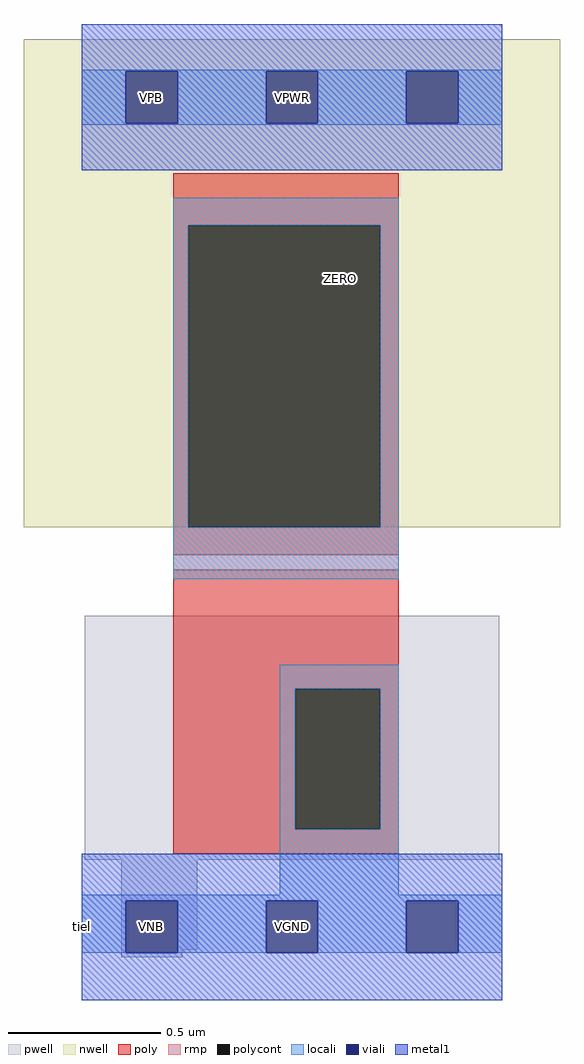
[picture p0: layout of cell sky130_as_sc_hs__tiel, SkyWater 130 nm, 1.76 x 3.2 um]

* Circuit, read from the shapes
.subckt sky130_as_sc_hs__tiel VNB VPB VGND VPWR ZERO
R1 ZERO VGND sky130_fd_pr__res_generic_po w=0.74 l=0.05
.ends

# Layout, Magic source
magic
tech sky130A
magscale 1 2
<< nwell >>
rect -38 262 314 582
<< pwell >>
rect 2 44 274 204
rect 26 -15 76 44
rect 26 -20 66 -15
<< poly >>
rect 60 460 208 494
rect 60 262 70 460
rect 196 262 208 460
rect 60 244 208 262
rect 60 156 208 234
rect 60 64 140 156
rect 196 64 208 156
rect 60 48 208 64
<< polycont >>
rect 70 262 196 460
rect 140 64 196 156
<< rmp >>
rect 60 234 208 244
<< locali >>
rect 0 561 276 562
rect 0 527 29 561
rect 63 527 121 561
rect 155 527 213 561
rect 247 527 276 561
rect 0 526 276 527
rect 60 460 208 478
rect 60 262 70 460
rect 196 262 208 460
rect 60 228 208 262
rect 130 156 208 172
rect 130 64 140 156
rect 196 64 208 156
rect 130 21 208 64
rect 0 17 276 21
rect 0 -17 29 17
rect 63 -17 121 17
rect 155 -17 213 17
rect 247 -17 276 17
<< viali >>
rect 29 527 63 561
rect 121 527 155 561
rect 213 527 247 561
rect 29 -17 63 17
rect 121 -17 155 17
rect 213 -17 247 17
<< metal1 >>
rect 0 561 276 592
rect 0 527 29 561
rect 63 527 121 561
rect 155 527 213 561
rect 247 527 276 561
rect 0 496 276 527
rect 0 17 276 48
rect 0 -17 29 17
rect 63 -17 121 17
rect 155 -17 213 17
rect 247 -17 276 17
rect 0 -48 276 -17
<< labels >>
rlabel comment s 0 0 0 0 4 tiel
flabel pwell s 29 -17 63 17 0 FreeSans 200 0 0 0 VNB
port 1 nsew ground bidirectional
flabel pwell s 46 0 46 0 0 FreeSans 200 0 0 0 VNB
flabel nwell s 29 527 63 561 0 FreeSans 200 0 0 0 VPB
port 2 nsew power bidirectional
flabel nwell s 46 544 46 544 0 FreeSans 200 0 0 0 VPB
flabel metal1 s 29 527 63 561 0 FreeSans 200 0 0 0 VPWR
port 4 nsew power bidirectional abutment
rlabel metal1 s 0 496 276 592 1 VPWR
port 4 nsew power bidirectional abutment
rlabel metal1 s 0 -48 276 48 1 VGND
port 3 nsew ground bidirectional abutment
flabel metal1 s 29 -17 63 17 0 FreeSans 200 0 0 0 VGND
port 3 nsew ground bidirectional abutment
flabel locali s 153 408 187 442 0 FreeSans 200 0 0 0 ZERO
port 5 nsew signal output
flabel locali s 170 425 170 425 0 FreeSans 200 0 0 0 ZERO
<< properties >>
string FIXED_BBOX 0 0 276 544
string GDS_FILE $PDKPATH/libs.ref/sky130_as_sc_hs/gds/sky130_as_sc_hs__tiel.gds
string LEFclass CORE
string LEFsite unithd
string LEFsymmetry X Y R90
string MASKHINTS_LVTN 0 -4 276 227
string MASKHINTS_NSDM 0 -38 276 203
string MASKHINTS_PSDM 0 272 276 582
<< end >>
